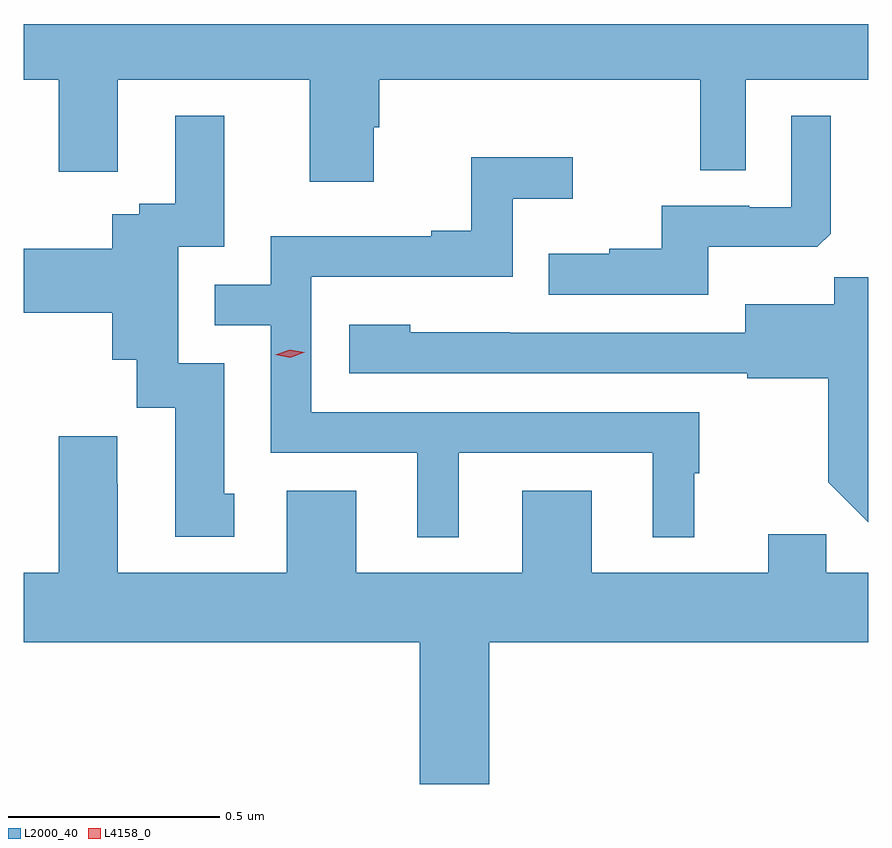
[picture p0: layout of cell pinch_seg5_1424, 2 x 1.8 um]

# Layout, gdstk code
import gdstk
lib = gdstk.Library(unit=1e-6, precision=1e-09)
def P(c, l, *ps):  # polygons
    for p in ps: c.add(gdstk.Polygon(p, *l))
L2000_40 = (2000, 40)
L4158_0 = (4158, 0)

pinch_seg5_1424 = lib.new_cell('pinch_seg5_1424')
P(pinch_seg5_1424, L2000_40, [(224.839,915.255),(224.852,915.255),(224.852,915.368),(225.612,915.368),(225.612,915.154),(225.72,915.154),(225.72,915.368),(226.01,915.368),(226.01,915.5),(224.01,915.5),(224.01,915.368),(224.093,915.368),(224.093,915.15),(224.233,915.15),(224.233,915.368),(224.687,915.368),(224.687,915.126),(224.839,915.126)],
  [(225.631,914.972),(225.889,914.972),(225.921,915.003),(225.921,915.283),(225.828,915.283),(225.828,915.066),(225.728,915.066),(225.728,915.069),(225.521,915.069),(225.521,914.968),(225.397,914.968),(225.397,914.956),(225.253,914.956),(225.253,914.859),(225.631,914.859)],
  [(224.509,914.388),(224.485,914.388),(224.485,914.697),(224.376,914.697),(224.376,914.973),(224.485,914.973),(224.485,915.283),(224.369,915.283),(224.369,915.074),(224.283,915.074),(224.283,915.049),(224.219,915.049),(224.219,914.968),(224.01,914.968),(224.01,914.816),(224.219,914.816),(224.219,914.705),(224.277,914.705),(224.277,914.591),(224.369,914.591),(224.369,914.286),(224.509,914.286)],
  [(225.04,914.484),(225.5,914.484),(225.5,914.285),(225.598,914.285),(225.598,914.436),(225.61,914.436),(225.61,914.58),(224.691,914.58),(224.691,914.901),(225.168,914.901),(225.168,915.086),(225.31,915.086),(225.31,915.185),(225.07,915.185),(225.07,915.01),(224.975,915.01),(224.975,914.997),(224.595,914.997),(224.595,914.883),(224.462,914.883),(224.462,914.787),(224.595,914.787),(224.595,914.484),(224.942,914.484),(224.942,914.285),(225.04,914.285)],
  [(226.01,914.9),(225.93,914.9),(225.93,914.836),(225.719,914.836),(225.719,914.769),(225.161,914.769),(225.161,914.77),(224.925,914.77),(224.925,914.788),(224.781,914.788),(224.781,914.673),(225.723,914.673),(225.723,914.661),(225.915,914.661),(225.915,914.415),(226.01,914.32)],
  [(225.773,914.291),(225.773,914.2),(225.355,914.2),(225.355,914.395),(225.191,914.395),(225.191,914.2),(224.797,914.2),(224.797,914.395),(224.633,914.395),(224.633,914.2),(224.233,914.2),(224.233,914.411),(224.231,914.411),(224.231,914.524),(224.093,914.524),(224.093,914.2),(224.01,914.2),(224.01,914.036),(224.948,914.036),(224.948,913.7),(225.112,913.7),(225.112,914.036),(226.01,914.036),(226.01,914.2),(225.911,914.2),(225.911,914.291)])
P(pinch_seg5_1424, L4158_0, [(224.641,914.71),(224.606,914.717),(224.606,914.717),(224.606,914.717),(224.64,914.729),(224.675,914.722),(224.675,914.722),(224.675,914.722)])

lib.write_gds('pinch_seg5_1424.gds')
